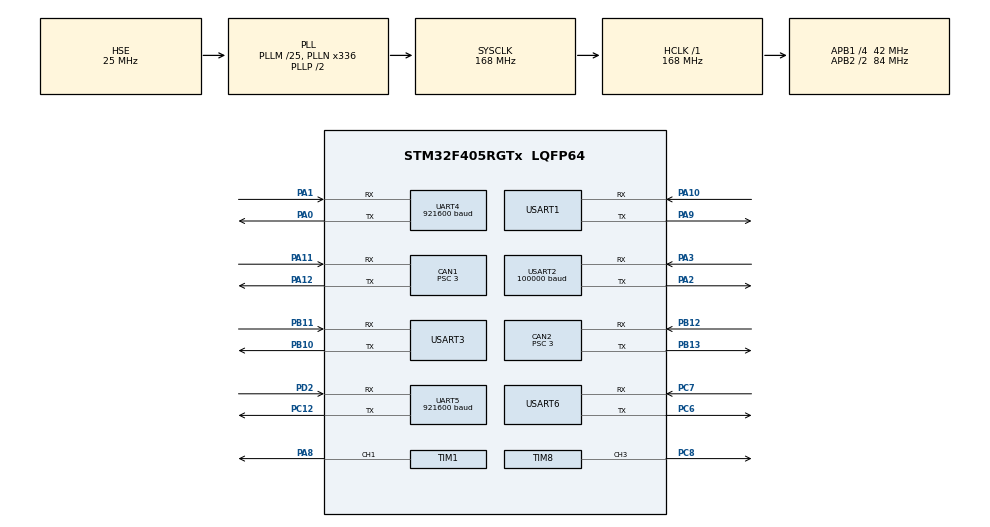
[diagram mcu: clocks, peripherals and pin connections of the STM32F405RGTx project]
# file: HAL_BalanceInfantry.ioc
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CAN1.ABOM=ENABLE
CAN1.AWUM=ENABLE
CAN1.BS1=CAN_BS1_10TQ
CAN1.BS2=CAN_BS2_3TQ
CAN1.CalculateBaudRate=1000000
CAN1.CalculateTimeBit=1000
CAN1.CalculateTimeQuantum=71.42857142857143
CAN1.NART=ENABLE
CAN1.Prescaler=3
CAN2.ABOM=ENABLE
CAN2.AWUM=ENABLE
CAN2.BS1=CAN_BS1_10TQ
CAN2.BS2=CAN_BS2_3TQ
CAN2.CalculateBaudRate=1000000
CAN2.CalculateTimeBit=1000
CAN2.CalculateTimeQuantum=71.42857142857143
CAN2.NART=ENABLE
CAN2.Prescaler=3
Dma.Request0=USART1_RX
Dma.Request1=USART2_RX
Dma.Request2=UART4_RX
Dma.Request3=UART5_RX
Dma.Request4=TIM1_CH1
Dma.Request5=USART3_RX
Dma.TIM1_CH1.4.Direction=DMA_MEMORY_TO_PERIPH
Dma.TIM1_CH1.4.FIFOMode=DMA_FIFOMODE_DISABLE
Dma.TIM1_CH1.4.Instance=DMA2_Stream1
Dma.TIM1_CH1.4.MemDataAlignment=DMA_MDATAALIGN_HALFWORD
Dma.TIM1_CH1.4.MemInc=DMA_MINC_ENABLE
Dma.TIM1_CH1.4.Mode=DMA_CIRCULAR
Dma.TIM1_CH1.4.PeriphDataAlignment=DMA_PDATAALIGN_HALFWORD
Dma.TIM1_CH1.4.PeriphInc=DMA_PINC_DISABLE
Dma.TIM1_CH1.4.Priority=DMA_PRIORITY_LOW
Dma.UART4_RX.2.Direction=DMA_PERIPH_TO_MEMORY
Dma.UART4_RX.2.FIFOMode=DMA_FIFOMODE_DISABLE
Dma.UART4_RX.2.Instance=DMA1_Stream2
Dma.UART4_RX.2.MemDataAlignment=DMA_MDATAALIGN_BYTE
Dma.UART4_RX.2.MemInc=DMA_MINC_ENABLE
Dma.UART4_RX.2.Mode=DMA_NORMAL
Dma.UART4_RX.2.PeriphDataAlignment=DMA_PDATAALIGN_BYTE
Dma.UART4_RX.2.PeriphInc=DMA_PINC_DISABLE
Dma.UART4_RX.2.Priority=DMA_PRIORITY_HIGH
Dma.UART5_RX.3.Direction=DMA_PERIPH_TO_MEMORY
Dma.UART5_RX.3.FIFOMode=DMA_FIFOMODE_DISABLE
Dma.UART5_RX.3.Instance=DMA1_Stream0
Dma.UART5_RX.3.MemDataAlignment=DMA_MDATAALIGN_BYTE
Dma.UART5_RX.3.MemInc=DMA_MINC_ENABLE
Dma.UART5_RX.3.Mode=DMA_NORMAL
Dma.UART5_RX.3.PeriphDataAlignment=DMA_PDATAALIGN_BYTE
Dma.UART5_RX.3.PeriphInc=DMA_PINC_DISABLE
Dma.UART5_RX.3.Priority=DMA_PRIORITY_HIGH
Dma.USART1_RX.0.Direction=DMA_PERIPH_TO_MEMORY
Dma.USART1_RX.0.FIFOMode=DMA_FIFOMODE_DISABLE
Dma.USART1_RX.0.Instance=DMA2_Stream2
Dma.USART1_RX.0.MemDataAlignment=DMA_MDATAALIGN_BYTE
Dma.USART1_RX.0.MemInc=DMA_MINC_ENABLE
Dma.USART1_RX.0.Mode=DMA_CIRCULAR
Dma.USART1_RX.0.PeriphDataAlignment=DMA_PDATAALIGN_BYTE
Dma.USART1_RX.0.PeriphInc=DMA_PINC_DISABLE
Dma.USART1_RX.0.Priority=DMA_PRIORITY_HIGH
Dma.USART2_RX.1.Direction=DMA_PERIPH_TO_MEMORY
Dma.USART2_RX.1.FIFOMode=DMA_FIFOMODE_ENABLE
Dma.USART2_RX.1.FIFOThreshold=DMA_FIFO_THRESHOLD_HALFFULL
Dma.USART2_RX.1.Instance=DMA1_Stream5
Dma.USART2_RX.1.MemBurst=DMA_MBURST_INC8
Dma.USART2_RX.1.MemDataAlignment=DMA_MDATAALIGN_BYTE
Dma.USART2_RX.1.MemInc=DMA_MINC_ENABLE
Dma.USART2_RX.1.Mode=DMA_CIRCULAR
Dma.USART2_RX.1.PeriphBurst=DMA_PBURST_SINGLE
Dma.USART2_RX.1.PeriphDataAlignment=DMA_PDATAALIGN_BYTE
Dma.USART2_RX.1.PeriphInc=DMA_PINC_DISABLE
Dma.USART2_RX.1.Priority=DMA_PRIORITY_VERY_HIGH
Dma.USART3_RX.5.Direction=DMA_PERIPH_TO_MEMORY
Dma.USART3_RX.5.FIFOMode=DMA_FIFOMODE_DISABLE
Dma.USART3_RX.5.Instance=DMA1_Stream1
Dma.USART3_RX.5.MemDataAlignment=DMA_MDATAALIGN_BYTE
Dma.USART3_RX.5.MemInc=DMA_MINC_ENABLE
Dma.USART3_RX.5.Mode=DMA_CIRCULAR
Dma.USART3_RX.5.PeriphDataAlignment=DMA_PDATAALIGN_BYTE
Dma.USART3_RX.5.PeriphInc=DMA_PINC_DISABLE
Dma.USART3_RX.5.Priority=DMA_PRIORITY_LOW
FREERTOS.INCLUDE_vTaskDelayUntil=1
FREERTOS.Tasks01=defaultTask,0,128,StartDefaultTask,Default,NULL,Dynamic,NULL,NULL;system_state_ta,3,256,SYSTEM_STATE_TASK,Default,NULL,Dynamic,NULL,NULL;chassis_task,2,256,CHASSIS_TASK,Default,NULL,Dynamic,NULL,NULL;gimbal_task,2,256,GIMBAL_TASK,Default,NULL,Dynamic,NULL,NULL
Mcu.Family=STM32F4
Mcu.Name=STM32F405RGTx
Mcu.Package=LQFP64
NVIC.CAN1_RX0_IRQn=true\:5\:0\:false\:false\:true\:true\:true\:true\:true
NVIC.CAN2_RX0_IRQn=true\:5\:0\:false\:false\:true\:true\:true\:true\:true
NVIC.DMA1_Stream0_IRQn=true\:5\:0\:false\:false\:true\:true\:false\:true\:true
NVIC.DMA1_Stream1_IRQn=true\:5\:0\:false\:false\:true\:true\:false\:true\:true
NVIC.DMA1_Stream2_IRQn=true\:5\:0\:false\:false\:true\:true\:false\:true\:true
NVIC.DMA1_Stream5_IRQn=true\:5\:0\:false\:false\:true\:true\:false\:true\:true
NVIC.DMA2_Stream1_IRQn=true\:5\:0\:false\:false\:true\:true\:false\:true\:true
NVIC.DMA2_Stream2_IRQn=true\:5\:0\:false\:false\:true\:true\:false\:true\:true
NVIC.PriorityGroup=NVIC_PRIORITYGROUP_4
NVIC.TIM2_IRQn=true\:5\:0\:false\:false\:true\:true\:true\:true\:true
NVIC.TIM8_TRG_COM_TIM14_IRQn=true\:5\:0\:false\:false\:true\:false\:false\:true\:true
NVIC.TimeBase=TIM8_TRG_COM_TIM14_IRQn
NVIC.TimeBaseIP=TIM14
NVIC.UART4_IRQn=true\:5\:0\:false\:false\:true\:true\:true\:true\:true
NVIC.UART5_IRQn=true\:5\:0\:false\:false\:true\:true\:true\:true\:true
NVIC.USART1_IRQn=true\:5\:0\:false\:false\:true\:true\:true\:true\:true
NVIC.USART2_IRQn=true\:5\:0\:false\:false\:true\:true\:true\:true\:true
NVIC.USART3_IRQn=true\:5\:0\:false\:false\:true\:true\:true\:true\:true
NVIC.USART6_IRQn=true\:5\:0\:false\:false\:true\:true\:true\:true\:true
PA0-WKUP.Mode=Asynchronous
PA0-WKUP.Signal=UART4_TX
PA1.Mode=Asynchronous
PA1.Signal=UART4_RX
PA10.Mode=Asynchronous
PA10.Signal=USART1_RX
PA11.Mode=CAN_Activate
PA11.Signal=CAN1_RX
PA12.Mode=CAN_Activate
PA12.Signal=CAN1_TX
PA13.Mode=Serial_Wire
PA13.Signal=SYS_JTMS-SWDIO
PA14.Mode=Serial_Wire
PA14.Signal=SYS_JTCK-SWCLK
PA2.Mode=Asynchronous
PA2.Signal=USART2_TX
PA3.Mode=Asynchronous
PA3.Signal=USART2_RX
PA8.Signal=S_TIM1_CH1
PA9.Mode=Asynchronous
PA9.Signal=USART1_TX
PB10.Mode=Asynchronous
PB10.Signal=USART3_TX
PB11.Mode=Asynchronous
PB11.Signal=USART3_RX
PB12.Mode=CAN_Activate
PB12.Signal=CAN2_RX
PB13.Mode=CAN_Activate
PB13.Signal=CAN2_TX
PC12.Mode=Asynchronous
PC12.Signal=UART5_TX
PC6.Mode=Asynchronous
PC6.Signal=USART6_TX
PC7.Mode=Asynchronous
PC7.Signal=USART6_RX
PC8.Signal=S_TIM8_CH3
PD2.Mode=Asynchronous
PD2.Signal=UART5_RX
PH0-OSC_IN.Mode=HSE-External-Oscillator
PH0-OSC_IN.Signal=RCC_OSC_IN
PH1-OSC_OUT.Mode=HSE-External-Oscillator
PH1-OSC_OUT.Signal=RCC_OSC_OUT
ProjectManager.HeapSize=0x200
ProjectManager.StackSize=0x400
ProjectManager.TargetToolchain=MDK-ARM V5.32
RCC.48MHZClocksFreq_Value=84000000
RCC.AHBFreq_Value=168000000
RCC.APB1CLKDivider=RCC_HCLK_DIV4
RCC.APB1Freq_Value=42000000
RCC.APB1TimFreq_Value=84000000
RCC.APB2CLKDivider=RCC_HCLK_DIV2
RCC.APB2Freq_Value=84000000
RCC.APB2TimFreq_Value=168000000
RCC.CortexFreq_Value=168000000
RCC.HCLKFreq_Value=168000000
RCC.HSE_VALUE=25000000
RCC.HSI_VALUE=16000000
RCC.LSE_VALUE=32768
RCC.PLLM=25
RCC.PLLN=336
RCC.PLLSourceVirtual=RCC_PLLSOURCE_HSE
RCC.SYSCLKFreq_VALUE=168000000
RCC.SYSCLKSource=RCC_SYSCLKSOURCE_PLLCLK
RCC.VCOOutputFreq_Value=336000000
SH.S_TIM1_CH1.0=TIM1_CH1,PWM Generation1 CH1
SH.S_TIM8_CH3.0=TIM8_CH3,PWM Generation3 CH3
TIM1.AutoReloadPreload=TIM_AUTORELOAD_PRELOAD_ENABLE
TIM1.Channel-PWM\ Generation1\ CH1=TIM_CHANNEL_1
TIM1.Period=210-1
TIM2.Period=3000-1
TIM2.Prescaler=84-1
TIM8.Channel-PWM\ Generation3\ CH3=TIM_CHANNEL_3
TIM8.Period=20000-1
TIM8.Prescaler=168-1
UART4.BaudRate=921600
UART4.VirtualMode=Asynchronous
UART5.BaudRate=921600
UART5.VirtualMode=Asynchronous
USART1.VirtualMode=VM_ASYNC
USART2.BaudRate=100000
USART2.Mode=MODE_TX_RX
USART2.Parity=PARITY_EVEN
USART2.VirtualMode=VM_ASYNC
USART2.WordLength=WORDLENGTH_9B
USART3.VirtualMode=VM_ASYNC
USART6.VirtualMode=VM_ASYNC
VP_FREERTOS_VS_CMSIS_V1.Mode=CMSIS_V1
VP_SYS_VS_tim14.Mode=TIM14
VP_TIM2_VS_ClockSourceINT.Mode=Internal
board=custom

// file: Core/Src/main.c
/* USER CODE BEGIN Header */
/**
  ******************************************************************************
  * @file           : main.c
  * @brief          : Main program body
  ******************************************************************************
  * @attention
  *
  * Copyright (c) 2023 STMicroelectronics.
  * All rights reserved.
  *
  * This software is licensed under terms that can be found in the LICENSE file
  * in the root directory of this software component.
  * If no LICENSE file comes with this software, it is provided AS-IS.
  *
  ******************************************************************************
  */
/* USER CODE END Header */
#include "main.h"
#include "cmsis_os.h"
#include "can.h"
#include "dma.h"
#include "tim.h"
#include "usart.h"
#include "gpio.h"

/* USER CODE BEGIN Includes */
// #include "Device.h"
 #include "driver.h"
 #include "device.h"
 #include "system.h"
// #include "stm32f4xx_hal.h"
/* USER CODE END Includes */

void SystemClock_Config(void);
void MX_FREERTOS_Init(void);

int main(void)
{

  /* MCU Configuration--------------------------------------------------------*/

  /* Reset of all peripherals, Initializes the Flash interface and the Systick. */
  HAL_Init();

  /* Configure the system clock */
  SystemClock_Config();

  /* Initialize all configured peripherals */
  MX_GPIO_Init();
  MX_DMA_Init();
  MX_CAN1_Init();
  MX_CAN2_Init();
  MX_USART1_UART_Init();
  MX_USART2_UART_Init();
  MX_UART4_Init();
  MX_USART3_UART_Init();
  MX_UART5_Init();
  MX_USART6_UART_Init();
  MX_TIM2_Init();
  MX_TIM8_Init();
  MX_TIM1_Init();
  /* USER CODE BEGIN 2 */
	Driver_Init();
	Motor_Init();
  Time_Init();
		Chassis_InitPID();

  /* USER CODE END 2 */

  /* Call init function for freertos objects (in freertos.c) */
  MX_FREERTOS_Init();

  /* Start scheduler */
  osKernelStart();

  /* We should never get here as control is now taken by the scheduler */
  /* Infinite loop */
  while (1)
  {

  }
}

void SystemClock_Config(void)
{
  RCC_OscInitTypeDef RCC_OscInitStruct = {0};
  RCC_ClkInitTypeDef RCC_ClkInitStruct = {0};

  /** Configure the main internal regulator output voltage
  */
  __HAL_RCC_PWR_CLK_ENABLE();
  __HAL_PWR_VOLTAGESCALING_CONFIG(PWR_REGULATOR_VOLTAGE_SCALE1);

  /** Initializes the RCC Oscillators according to the specified parameters
  * in the RCC_OscInitTypeDef structure.
  */
  RCC_OscInitStruct.OscillatorType = RCC_OSCILLATORTYPE_HSE;
  RCC_OscInitStruct.HSEState = RCC_HSE_ON;
  RCC_OscInitStruct.PLL.PLLState = RCC_PLL_ON;
  RCC_OscInitStruct.PLL.PLLSource = RCC_PLLSOURCE_HSE;
  RCC_OscInitStruct.PLL.PLLM = 25;
  RCC_OscInitStruct.PLL.PLLN = 336;
  RCC_OscInitStruct.PLL.PLLP = RCC_PLLP_DIV2;
  RCC_OscInitStruct.PLL.PLLQ = 4;
  if (HAL_RCC_OscConfig(&RCC_OscInitStruct) != HAL_OK)
  {
    Error_Handler();
  }

  /** Initializes the CPU, AHB and APB buses clocks
  */
  RCC_ClkInitStruct.ClockType = RCC_CLOCKTYPE_HCLK|RCC_CLOCKTYPE_SYSCLK
                              |RCC_CLOCKTYPE_PCLK1|RCC_CLOCKTYPE_PCLK2;
  RCC_ClkInitStruct.SYSCLKSource = RCC_SYSCLKSOURCE_PLLCLK;
  RCC_ClkInitStruct.AHBCLKDivider = RCC_SYSCLK_DIV1;
  RCC_ClkInitStruct.APB1CLKDivider = RCC_HCLK_DIV4;
  RCC_ClkInitStruct.APB2CLKDivider = RCC_HCLK_DIV2;

  if (HAL_RCC_ClockConfig(&RCC_ClkInitStruct, FLASH_LATENCY_5) != HAL_OK)
  {
    Error_Handler();
  }
}

void HAL_TIM_PeriodElapsedCallback(TIM_HandleTypeDef *htim)
{
  if (htim->Instance == TIM14) {
    HAL_IncTick();
  }
}

void Error_Handler(void)
{
  __disable_irq();
  while (1)
  {
  }
}

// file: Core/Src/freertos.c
/* USER CODE BEGIN Header */
/**
  ******************************************************************************
  * File Name          : freertos.c
  * Description        : Code for freertos applications
  ******************************************************************************
  * @attention
  *
  * Copyright (c) 2023 STMicroelectronics.
  * All rights reserved.
  *
  * This software is licensed under terms that can be found in the LICENSE file
  * in the root directory of this software component.
  * If no LICENSE file comes with this software, it is provided AS-IS.
  *
  ******************************************************************************
  */
/* USER CODE END Header */

#include "FreeRTOS.h"
#include "task.h"
#include "main.h"
#include "cmsis_os.h"

/* USER CODE BEGIN Includes */
#include "Device.h"
#include "tim.h"
#include "usart.h"

/* USER CODE END Includes */

osThreadId defaultTaskHandle;
osThreadId system_state_taHandle;
osThreadId chassis_taskHandle;
osThreadId gimbal_taskHandle;

void StartDefaultTask(void const * argument);
void SYSTEM_STATE_TASK(void const * argument);
void CHASSIS_TASK(void const * argument);
void GIMBAL_TASK(void const * argument);

void MX_FREERTOS_Init(void); /* (MISRA C 2004 rule 8.1) */

/* GetIdleTaskMemory prototype (linked to static allocation support) */
void vApplicationGetIdleTaskMemory( StaticTask_t **ppxIdleTaskTCBBuffer, StackType_t **ppxIdleTaskStackBuffer, uint32_t *pulIdleTaskStackSize );

/* USER CODE BEGIN GET_IDLE_TASK_MEMORY */
static StaticTask_t xIdleTaskTCBBuffer;
static StackType_t xIdleStack[configMINIMAL_STACK_SIZE];

void vApplicationGetIdleTaskMemory( StaticTask_t **ppxIdleTaskTCBBuffer, StackType_t **ppxIdleTaskStackBuffer, uint32_t *pulIdleTaskStackSize )
{
  *ppxIdleTaskTCBBuffer = &xIdleTaskTCBBuffer;
  *ppxIdleTaskStackBuffer = &xIdleStack[0];
  *pulIdleTaskStackSize = configMINIMAL_STACK_SIZE;
  /* place for user code */
}
/* USER CODE END GET_IDLE_TASK_MEMORY */

void MX_FREERTOS_Init(void) {

  /* Create the thread(s) */
  /* definition and creation of defaultTask */
  osThreadDef(defaultTask, StartDefaultTask, osPriorityNormal, 0, 128);
  defaultTaskHandle = osThreadCreate(osThread(defaultTask), NULL);

  /* definition and creation of system_state_ta */
  osThreadDef(system_state_ta, SYSTEM_STATE_TASK, osPriorityRealtime, 0, 256);
  system_state_taHandle = osThreadCreate(osThread(system_state_ta), NULL);

  /* definition and creation of chassis_task */
  osThreadDef(chassis_task, CHASSIS_TASK, osPriorityRealtime, 0, 256);
  chassis_taskHandle = osThreadCreate(osThread(chassis_task), NULL);

  /* definition and creation of gimbal_task */
  osThreadDef(gimbal_task, GIMBAL_TASK, osPriorityHigh, 0, 256);
  gimbal_taskHandle = osThreadCreate(osThread(gimbal_task), NULL);

}

void StartDefaultTask(void const * argument)
{
  for(;;)
  {
    osDelay(1);
  }
}

void SYSTEM_STATE_TASK(void const * argument)
{
  /* USER CODE BEGIN SYSTEM_STATE_TASK */
  /* Infinite loop */
//  uint32_t currentTime;
  for(;;)
  {
//    currentTime = xTaskGetTickCount();//当前系统时间
    System_State();
    RC_State_Report();
		IMU_State_Report();
//		State_LED();
		vTaskDelay(1);

//    vTaskDelayUntil(&currentTime, 1);//绝对延时
  }
  /* USER CODE END SYSTEM_STATE_TASK */
}

void CHASSIS_TASK(void const * argument)
{
  /* USER CODE BEGIN CHASSIS_TASK */
  /* Infinite loop */
	uint32_t currentTime;
  for(;;)
  {
    currentTime = xTaskGetTickCount();//当前系统时间
		IMU_get();
    Chassis_Task();
    vTaskDelayUntil(&currentTime, 2);//绝对延时
  }
  /* USER CODE END CHASSIS_TASK */
}

/* USER CODE BEGIN Header_GIMBAL_TASK */
/**
* @brief Function implementing the gimbal_task thread.
* @param argument: Not used
* @retval None
*/
uint8_t test[2]={0x01,0x02};
/* USER CODE END Header_GIMBAL_TASK */
void GIMBAL_TASK(void const * argument)
{
  /* USER CODE BEGIN GIMBAL_TASK */
  /* Infinite loop */
	uint32_t currentTime;
  for(;;)
  {
		currentTime = xTaskGetTickCount();//当前系统时间
		IMU_get();
//		Gimbal_Task();
//		HAL_UART_Transmit(&huart4,&test[0],1,100);
    vTaskDelayUntil(&currentTime, 1);//绝对延时
	}
  /* USER CODE END GIMBAL_TASK */
}
